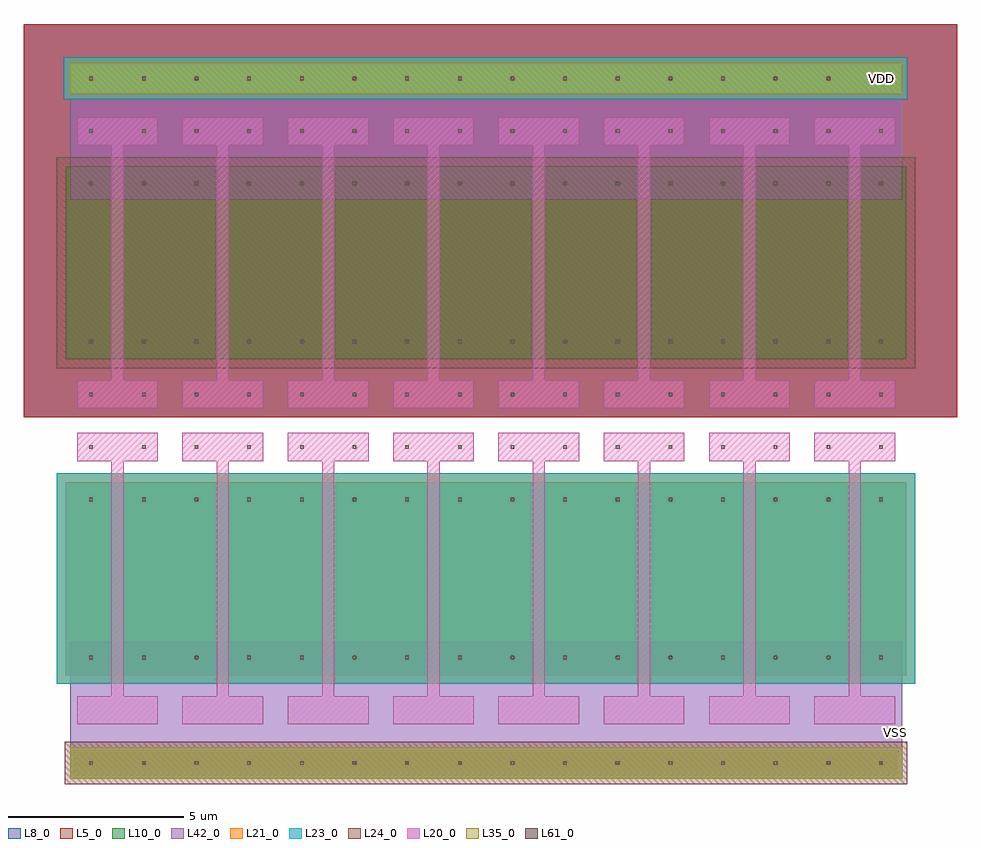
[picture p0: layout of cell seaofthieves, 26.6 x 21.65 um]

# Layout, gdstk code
import gdstk
lib = gdstk.Library(unit=1e-6, precision=1e-09)
def R(c, l, rs):  # rectangles x0, y0, x1, y1
    for r in rs: c.add(gdstk.rectangle(r[:2], r[2:], *l))
def A(c, l, x, y, w, h, nx, ny, dx, dy):  # array of equal rectangles
    R(c, l, [(x+i*dx, y+j*dy, x+i*dx+w, y+j*dy+h) for i in range(nx) for j in range(ny)])
L5_0 = (5, 0)
L8_0 = (8, 0)
L10_0 = (10, 0)
L20_0 = (20, 0)
L21_0 = (21, 0)
L23_0 = (23, 0)
L24_0 = (24, 0)
L35_0 = (35, 0)
L42_0 = (42, 0)
L61_0 = (61, 0)

seaofthieves = lib.new_cell('seaofthieves')
R(seaofthieves, L5_0, [(-1.925,2.3,24.675,13.5)])
R(seaofthieves, L8_0, [(-1.925,2.3,24.675,13.5)])
R(seaofthieves, L10_0, [(-0.5,-7.9,23,-7.2), (-0.725,-5.05,23.225,0.45), (-0.725,3.95,23.225,9.45), (-0.525,11.6,23,12.3)])
A(seaofthieves, L20_0, -0.4, -6.45, 2.3, 0.8, 8, 2, 3, 7.5)
A(seaofthieves, L20_0, 0.575, -5.65, 0.35, 6.7, 8, 2, 3, 9)
A(seaofthieves, L20_0, -0.4, 2.55, 2.3, 0.8, 8, 2, 3, 7.5)
R(seaofthieves, L21_0, [(-0.975,-5.3,23.475,0.7), (-0.775,11.35,23.25,12.55)])
R(seaofthieves, L23_0, [(-0.975,-5.3,23.475,0.7), (-0.775,11.35,23.25,12.55)])
R(seaofthieves, L24_0, [(-0.75,-8.15,23.25,-6.95), (-0.975,3.7,23.475,9.7)])
R(seaofthieves, L35_0, [(-0.6,-8,23.1,-7.1), (-0.6,11.5,23.1,12.4)])
R(seaofthieves, L42_0, [(-0.6,-8,23.1,-4.1), (-0.6,8.5,23.1,12.4)])
A(seaofthieves, L61_0, -0.05, -7.6, 0.1, 0.1, 16, 2, 1.5, 3)
A(seaofthieves, L61_0, -0.05, -0.1, 0.1, 0.1, 16, 4, 1.5, 1.5)
A(seaofthieves, L61_0, -0.05, 8.9, 0.1, 0.1, 16, 3, 1.5, 1.5)
seaofthieves.add(gdstk.Label('VDD', (22.525,11.95), layer=605, texttype=0))
seaofthieves.add(gdstk.Label('VSS', (22.9,-6.675), layer=605, texttype=0))

lib.write_gds('seaofthieves.gds')
